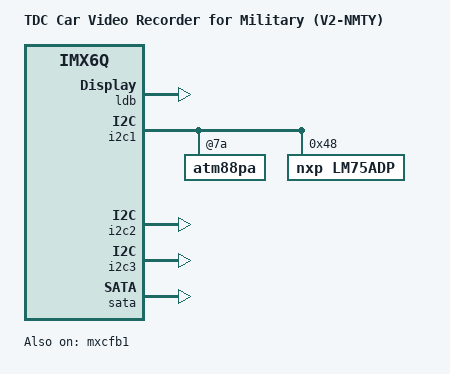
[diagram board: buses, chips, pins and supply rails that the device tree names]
/*
 * Technology Development Co.,Ltd
 * http://www.nedi.com.cn
 * Varphone Wong <varphone@qq.com>
 */

/dts-v1/;
#include "imx6q.dtsi"
#include "myimx6ek200-cm.dtsi"

/ {
	model = "TDC Car Video Recorder for Military (V2-NMTY)";
	compatible = "tdc,cvr-mil-v2", "myzr,myimx6", "myzr,myimx6q", "myzr,myimx6cb200", "myzr,myimx6ek200", "fsl,imx6q", "fsl,imx6q-ldb";

	reserved-memory {
		#address-cells = <1>;
		#size-cells = <1>;
		ranges;

		/* global autoconfigured region for contiguous allocations */
		linux,cma {
			compatible = "shared-dma-pool";
			reusable;
			size = <0x1E000000>;
			linux,cma-default;
		};
	};
};

&ldb {
	status = "okay";
};

&can1 {
	status = "disabled";
};

&can2 {
	status = "disabled";
};

&fec {
	status = "disabled";
};

&hdmi_audio {
	status = "disabled";
};

&hdmi_cec {
	status = "disabled";
};

&hdmi_core {
	status = "disabled";
};

&hdmi_video {
	status = "disabled";
};

&i2c1 {
	atm88pa@7a {
		power {
			/* poweroff GPIO5_IO20, ACTIVE_LOW */
			gpios = <&gpio5 20 1>;
		};
	};

	lm75adp@48 {
		compatible = "nxp,lm75adp";
		reg = <0x48>;
	};
};

&i2c2 {
	status = "okay";
};

&i2c3 {
	status = "okay";
};

&mxcfb1 {
	status = "okay";
};

&mxcfb2 {
	status = "disabled";
};

&mxcfb3 {
	status = "disabled";
};

&mxcfb4 {
	status = "disabled";
};

&pcie {
	status = "disabled";
};

&pwm1 {
	status = "disabled";
};

&sata {
	status = "okay";
};

&snvs {
	status = "disabled";
};
